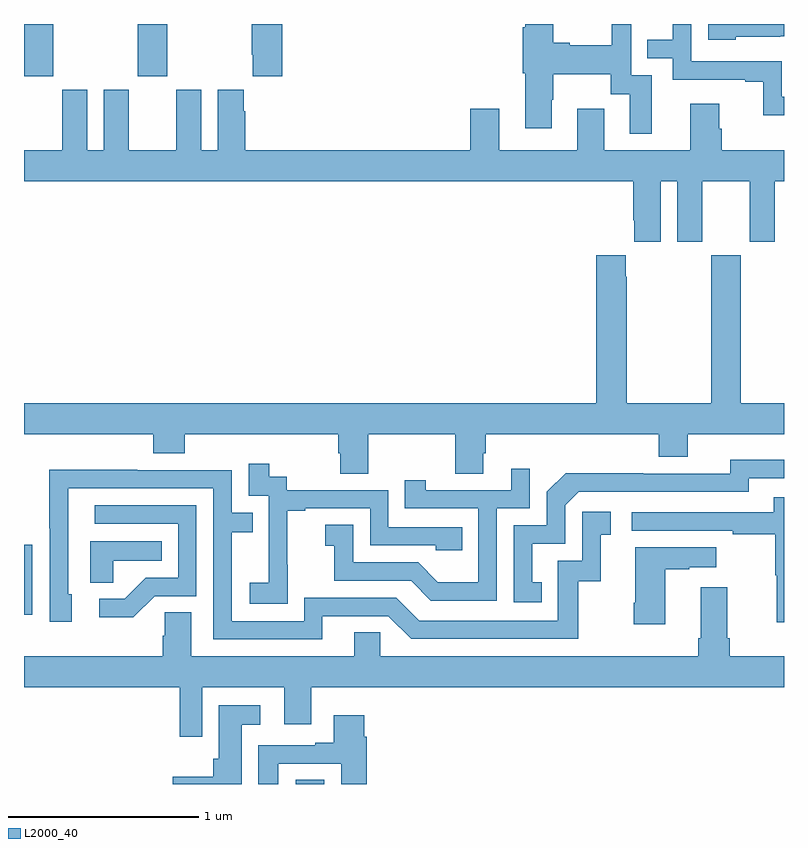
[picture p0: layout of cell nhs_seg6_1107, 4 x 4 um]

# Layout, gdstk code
import gdstk
lib = gdstk.Library(unit=1e-6, precision=1e-09)
def R(c, l, rs):  # rectangles x0, y0, x1, y1
    for r in rs: c.add(gdstk.rectangle(r[:2], r[2:], *l))
def P(c, l, *ps):  # polygons
    for p in ps: c.add(gdstk.Polygon(p, *l))
L2000_40 = (2000, 40)

nhs_seg6_1107 = lib.new_cell('nhs_seg6_1107')
R(nhs_seg6_1107, L2000_40, [(180.431,941.5,180.58,941.522), (179,942.39,179.043,942.76), (179,945.225,179.154,945.5), (179.599,945.225,179.754,945.5)])
P(nhs_seg6_1107, L2000_40, [(183,945.118),(182.988,945.118),(182.988,945.303),(182.511,945.303),(182.511,945.5),(182.415,945.5),(182.415,945.417),(182.281,945.417),(182.281,945.321),(182.415,945.321),(182.415,945.207),(182.795,945.207),(182.795,945.195),(182.89,945.195),(182.89,945.02),(183,945.02)],
  [(180.359,945.5),(180.199,945.5),(180.199,945.337),(180.203,945.337),(180.203,945.225),(180.359,945.225)],
  [(182.745,945.434),(182.981,945.434),(182.981,945.435),(183,945.435),(183,945.5),(182.601,945.5),(182.601,945.416),(182.745,945.416)],
  [(182.305,945.231),(182.196,945.231),(182.196,945.5),(182.093,945.5),(182.093,945.388),(181.873,945.388),(181.873,945.401),(181.785,945.401),(181.785,945.5),(181.637,945.5),(181.637,945.484),(181.625,945.484),(181.625,945.24),(181.637,945.24),(181.637,944.952),(181.777,944.952),(181.777,945.102),(181.785,945.102),(181.785,945.236),(182.088,945.236),(182.088,945.13),(182.189,945.13),(182.189,944.922),(182.305,944.922)],
  [(182.35,944.672),(182.438,944.672),(182.438,944.355),(182.569,944.355),(182.569,944.672),(182.819,944.672),(182.819,944.355),(182.95,944.355),(182.95,944.672),(183,944.672),(183,944.836),(182.672,944.836),(182.672,944.949),(182.659,944.949),(182.659,945.079),(182.507,945.079),(182.507,944.836),(182.053,944.836),(182.053,945.055),(181.913,945.055),(181.913,944.836),(181.501,944.836),(181.501,945.055),(181.349,945.055),(181.349,944.836),(180.164,944.836),(180.164,945.041),(180.157,945.041),(180.157,945.154),(180.02,945.154),(180.02,944.836),(179.932,944.836),(179.932,945.154),(179.801,945.154),(179.801,944.836),(179.551,944.836),(179.551,945.154),(179.42,945.154),(179.42,944.836),(179.332,944.836),(179.332,945.154),(179.201,945.154),(179.201,944.836),(179,944.836),(179,944.672),(182.207,944.672),(182.207,944.467),(182.213,944.467),(182.213,944.355),(182.35,944.355)],
  [(180.813,943.34),(181.27,943.34),(181.27,943.132),(181.417,943.132),(181.417,943.242),(181.43,943.242),(181.43,943.34),(182.342,943.34),(182.342,943.223),(182.494,943.223),(182.494,943.34),(183,943.34),(183,943.504),(182.772,943.504),(182.772,944.284),(182.617,944.284),(182.617,943.504),(182.172,943.504),(182.172,944.171),(182.167,944.171),(182.167,944.284),(182.012,944.284),(182.012,943.504),(179,943.504),(179,943.34),(179.681,943.34),(179.681,943.241),(179.846,943.241),(179.846,943.34),(180.653,943.34),(180.653,943.242),(180.665,943.242),(180.665,943.132),(180.813,943.132)],
  [(181.724,942.561),(181.675,942.561),(181.675,942.765),(181.848,942.765),(181.848,942.966),(181.92,943.038),(182.814,943.038),(182.814,943.11),(183,943.11),(183,943.207),(182.718,943.207),(182.718,943.134),(182.258,943.134),(182.258,943.136),(181.85,943.136),(181.752,943.038),(181.752,942.861),(181.578,942.861),(181.578,942.456),(181.724,942.456)],
  [(180.387,942.655),(180.386,942.655),(180.386,942.939),(180.481,942.939),(180.481,942.951),(180.822,942.951),(180.822,942.756),(181.167,942.756),(181.167,942.729),(181.307,942.729),(181.307,942.852),(180.918,942.852),(180.918,943.047),(180.384,943.047),(180.384,943.116),(180.292,943.116),(180.292,943.186),(180.183,943.186),(180.183,943.017),(180.288,943.017),(180.288,942.788),(180.287,942.788),(180.287,942.559),(180.189,942.559),(180.189,942.449),(180.387,942.449)],
  [(181.488,942.951),(181.662,942.951),(181.662,943.159),(181.565,943.159),(181.565,943.047),(181.114,943.047),(181.114,943.099),(181.003,943.099),(181.003,942.951),(181.392,942.951),(181.392,942.562),(181.178,942.562),(181.074,942.666),(180.732,942.666),(180.732,942.865),(180.585,942.865),(180.585,942.755),(180.634,942.755),(180.634,942.57),(181.037,942.57),(181.142,942.465),(181.488,942.465)],
  [(180.571,942.384),(180.918,942.384),(181.038,942.264),(181.918,942.264),(181.918,942.567),(182.036,942.567),(182.036,942.813),(182.089,942.813),(182.089,942.934),(181.938,942.934),(181.938,942.675),(181.809,942.675),(181.809,942.36),(181.08,942.36),(180.96,942.48),(180.474,942.48),(180.474,942.357),(180.093,942.357),(180.093,942.826),(180.203,942.826),(180.203,942.927),(180.093,942.927),(180.093,943.152),(179.597,943.152),(179.597,943.154),(179.134,943.154),(179.134,942.847),(179.136,942.847),(179.136,942.354),(179.251,942.354),(179.251,942.498),(179.232,942.498),(179.232,943.056),(179.997,943.056),(179.997,942.261),(180.571,942.261)],
  [(183,943.009),(182.947,943.009),(182.947,942.93),(182.199,942.93),(182.199,942.834),(182.731,942.834),(182.731,942.814),(182.955,942.814),(182.955,942.6),(182.962,942.6),(182.962,942.351),(183,942.351)],
  [(179.688,942.489),(179.907,942.489),(179.907,942.966),(179.373,942.966),(179.373,942.87),(179.811,942.87),(179.811,942.585),(179.642,942.585),(179.531,942.474),(179.397,942.474),(179.397,942.377),(179.575,942.377)],
  [(179.469,942.674),(179.726,942.674),(179.726,942.778),(179.348,942.778),(179.348,942.559),(179.469,942.559)],
  [(182.374,942.631),(182.501,942.631),(182.501,942.641),(182.644,942.641),(182.644,942.745),(182.216,942.745),(182.216,942.454),(182.209,942.454),(182.209,942.342),(182.374,942.342)],
  [(179.937,942.008),(180.371,942.008),(180.371,941.814),(180.511,941.814),(180.511,942.008),(183,942.008),(183,942.172),(182.714,942.172),(182.714,942.268),(182.701,942.268),(182.701,942.535),(182.561,942.535),(182.561,942.268),(182.549,942.268),(182.549,942.172),(180.876,942.172),(180.876,942.299),(180.737,942.299),(180.737,942.172),(179.881,942.172),(179.881,942.404),(179.742,942.404),(179.742,942.281),(179.729,942.281),(179.729,942.172),(179,942.172),(179,942.008),(179.821,942.008),(179.821,941.748),(179.937,941.748)],
  [(180.145,941.813),(180.244,941.813),(180.244,941.914),(180.026,941.914),(180.026,941.634),(179.996,941.634),(179.996,941.539),(179.784,941.539),(179.784,941.5),(180.145,941.5)],
  [(180.337,941.607),(180.671,941.607),(180.671,941.5),(180.803,941.5),(180.803,941.75),(180.79,941.75),(180.79,941.863),(180.629,941.863),(180.629,941.716),(180.533,941.716),(180.533,941.703),(180.233,941.703),(180.233,941.5),(180.337,941.5)])

lib.write_gds('nhs_seg6_1107.gds')
